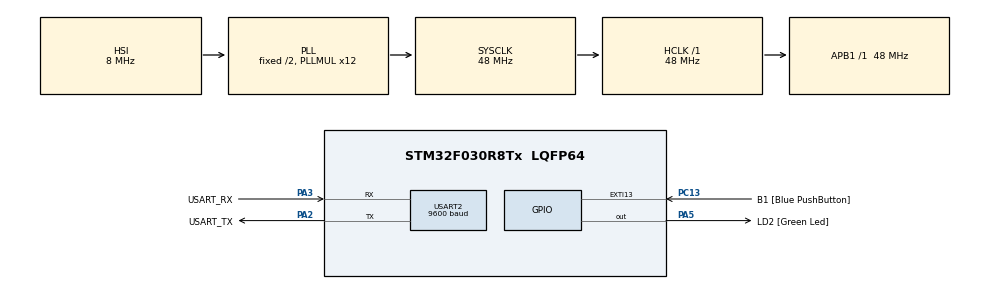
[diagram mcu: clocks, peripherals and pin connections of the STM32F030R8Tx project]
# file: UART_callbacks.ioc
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Dma.Request0=USART2_RX
Dma.USART2_RX.0.Direction=DMA_PERIPH_TO_MEMORY
Dma.USART2_RX.0.Instance=DMA1_Channel5
Dma.USART2_RX.0.MemDataAlignment=DMA_MDATAALIGN_BYTE
Dma.USART2_RX.0.MemInc=DMA_MINC_ENABLE
Dma.USART2_RX.0.Mode=DMA_NORMAL
Dma.USART2_RX.0.PeriphDataAlignment=DMA_PDATAALIGN_BYTE
Dma.USART2_RX.0.PeriphInc=DMA_PINC_DISABLE
Dma.USART2_RX.0.Priority=DMA_PRIORITY_LOW
Mcu.Family=STM32F0
Mcu.Name=STM32F030R8Tx
Mcu.Package=LQFP64
NVIC.DMA1_Channel4_5_IRQn=true\:0\:0\:false\:false\:true\:false\:true\:true
NVIC.USART2_IRQn=true\:0\:0\:false\:false\:true\:true\:true\:true
PA13.GPIO_Label=TMS
PA13.Mode=Serial_Wire
PA13.Signal=SYS_SWDIO
PA14.GPIO_Label=TCK
PA14.Mode=Serial_Wire
PA14.Signal=SYS_SWCLK
PA2.GPIO_Label=USART_TX
PA2.GPIO_Mode=GPIO_MODE_AF_PP
PA2.GPIO_PuPd=GPIO_NOPULL
PA2.GPIO_Speed=GPIO_SPEED_FREQ_LOW
PA2.Mode=Asynchronous
PA2.Signal=USART2_TX
PA3.GPIO_Label=USART_RX
PA3.GPIO_Mode=GPIO_MODE_AF_PP
PA3.GPIO_PuPd=GPIO_NOPULL
PA3.GPIO_Speed=GPIO_SPEED_FREQ_LOW
PA3.Mode=Asynchronous
PA3.Signal=USART2_RX
PA5.GPIO_Label=LD2 [Green Led]
PA5.GPIO_Mode=GPIO_MODE_OUTPUT_PP
PA5.GPIO_PuPd=GPIO_NOPULL
PA5.GPIO_Speed=GPIO_SPEED_FREQ_LOW
PA5.Signal=GPIO_Output
PC13.GPIO_Label=B1 [Blue PushButton]
PC13.GPIO_ModeDefaultEXTI=GPIO_MODE_IT_FALLING
PC13.Signal=GPXTI13
PC14-OSC32_IN.Mode=LSE-External-Oscillator
PC14-OSC32_IN.Signal=RCC_OSC32_IN
PC15-OSC32_OUT.Mode=LSE-External-Oscillator
PC15-OSC32_OUT.Signal=RCC_OSC32_OUT
PF0-OSC_IN.Mode=HSE-External-Clock-Source
PF0-OSC_IN.Signal=RCC_OSC_IN
PF1-OSC_OUT.Signal=RCC_OSC_OUT
ProjectManager.HeapSize=0x200
ProjectManager.StackSize=0x400
ProjectManager.TargetToolchain=STM32CubeIDE
RCC.AHBFreq_Value=48000000
RCC.APB1Freq_Value=48000000
RCC.APB1TimFreq_Value=48000000
RCC.HCLKFreq_Value=48000000
RCC.PLLMUL=RCC_PLL_MUL12
RCC.SYSCLKFreq_VALUE=48000000
RCC.SYSCLKSource=RCC_SYSCLKSOURCE_PLLCLK
USART2.BaudRate=9600
USART2.VirtualMode-Asynchronous=VM_ASYNC
board=NUCLEO-F030R8

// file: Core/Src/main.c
/* USER CODE BEGIN Header */
/**
  ******************************************************************************
  * @file           : main.c
  * @brief          : Main program body
  ******************************************************************************
  * @attention
  *
  * Copyright (c) 2024 STMicroelectronics.
  * All rights reserved.
  *
  * This software is licensed under terms that can be found in the LICENSE file
  * in the root directory of this software component.
  * If no LICENSE file comes with this software, it is provided AS-IS.
  *
  ******************************************************************************
  */
/* USER CODE END Header */
#include "main.h"

/* USER CODE BEGIN Includes */
#include <string.h>
#include "FIFO.c"

/* USER CODE END Includes */

/* USER CODE BEGIN PD */
void  myCallback(UART_HandleTypeDef *huart);
/* USER CODE END PD */

UART_HandleTypeDef huart2;
DMA_HandleTypeDef hdma_usart2_rx;

/* USER CODE BEGIN PV */
fifo_t myfifo;
uint8_t temp_rxBuffer[1];
uint8_t i = 0;
uint8_t buffer[4];
/* USER CODE END PV */

void SystemClock_Config(void);
static void MX_GPIO_Init(void);
static void MX_DMA_Init(void);
static void MX_USART2_UART_Init(void);

int main(void)
{

  /* MCU Configuration--------------------------------------------------------*/

  /* Reset of all peripherals, Initializes the Flash interface and the Systick. */
  HAL_Init();

  /* USER CODE BEGIN Init */
    //HAL_NVIC_SetPriority(USART2_IRQn, 0, 0);
    //HAL_NVIC_EnableIRQ(USART2_IRQn);
    myfifo = fifo_create(10,sizeof(uint8_t));
  /* USER CODE END Init */

  /* Configure the system clock */
  SystemClock_Config();

  /* Initialize all configured peripherals */
  MX_GPIO_Init();
  MX_DMA_Init();
  MX_USART2_UART_Init();
  /* USER CODE BEGIN 2 */
    HAL_UART_RegisterCallback(&huart2,HAL_UART_RX_COMPLETE_CB_ID  , myCallback);
    HAL_UART_Receive_IT(&huart2, temp_rxBuffer, 1);
  /* USER CODE END 2 */

  /* Infinite loop */
  /* USER CODE BEGIN WHILE */
    //HAL_UARTEx_ReceiveToIdle_DMA(&huart2, (uint8_t *) rx_buffer, sizeof(rx_buffer));
  while (1)
  {
#if 0
    while (!fifo_is_empty(myfifo)) {
              uint8_t c;
              fifo_get(myfifo, &c);
              buffer[i] = c;
              i+=1;
          }
    HAL_UART_Transmit(&huart2, buffer,i,100);
#endif
    /* USER CODE END WHILE */

  }
}

void SystemClock_Config(void)
{
  RCC_OscInitTypeDef RCC_OscInitStruct = {0};
  RCC_ClkInitTypeDef RCC_ClkInitStruct = {0};

  /** Initializes the RCC Oscillators according to the specified parameters
  * in the RCC_OscInitTypeDef structure.
  */
  RCC_OscInitStruct.OscillatorType = RCC_OSCILLATORTYPE_HSI;
  RCC_OscInitStruct.HSIState = RCC_HSI_ON;
  RCC_OscInitStruct.HSICalibrationValue = RCC_HSICALIBRATION_DEFAULT;
  RCC_OscInitStruct.PLL.PLLState = RCC_PLL_ON;
  RCC_OscInitStruct.PLL.PLLSource = RCC_PLLSOURCE_HSI;
  RCC_OscInitStruct.PLL.PLLMUL = RCC_PLL_MUL12;
  RCC_OscInitStruct.PLL.PREDIV = RCC_PREDIV_DIV1;
  if (HAL_RCC_OscConfig(&RCC_OscInitStruct) != HAL_OK)
  {
    Error_Handler();
  }

  /** Initializes the CPU, AHB and APB buses clocks
  */
  RCC_ClkInitStruct.ClockType = RCC_CLOCKTYPE_HCLK|RCC_CLOCKTYPE_SYSCLK
                              |RCC_CLOCKTYPE_PCLK1;
  RCC_ClkInitStruct.SYSCLKSource = RCC_SYSCLKSOURCE_PLLCLK;
  RCC_ClkInitStruct.AHBCLKDivider = RCC_SYSCLK_DIV1;
  RCC_ClkInitStruct.APB1CLKDivider = RCC_HCLK_DIV1;

  if (HAL_RCC_ClockConfig(&RCC_ClkInitStruct, FLASH_LATENCY_1) != HAL_OK)
  {
    Error_Handler();
  }
}

static void MX_USART2_UART_Init(void)
{

  huart2.Instance = USART2;
  huart2.Init.BaudRate = 9600;
  huart2.Init.WordLength = UART_WORDLENGTH_8B;
  huart2.Init.StopBits = UART_STOPBITS_1;
  huart2.Init.Parity = UART_PARITY_NONE;
  huart2.Init.Mode = UART_MODE_TX_RX;
  huart2.Init.HwFlowCtl = UART_HWCONTROL_NONE;
  huart2.Init.OverSampling = UART_OVERSAMPLING_16;
  huart2.Init.OneBitSampling = UART_ONE_BIT_SAMPLE_DISABLE;
  huart2.AdvancedInit.AdvFeatureInit = UART_ADVFEATURE_NO_INIT;
  if (HAL_UART_Init(&huart2) != HAL_OK)
  {
    Error_Handler();
  }

}

static void MX_DMA_Init(void)
{

  /* DMA controller clock enable */
  __HAL_RCC_DMA1_CLK_ENABLE();

  /* DMA interrupt init */
  /* DMA1_Channel4_5_IRQn interrupt configuration */
  HAL_NVIC_SetPriority(DMA1_Channel4_5_IRQn, 0, 0);
  HAL_NVIC_EnableIRQ(DMA1_Channel4_5_IRQn);

}

static void MX_GPIO_Init(void)
{
  GPIO_InitTypeDef GPIO_InitStruct = {0};

  /* GPIO Ports Clock Enable */
  __HAL_RCC_GPIOC_CLK_ENABLE();
  __HAL_RCC_GPIOF_CLK_ENABLE();
  __HAL_RCC_GPIOA_CLK_ENABLE();

  /*Configure GPIO pin Output Level */
  HAL_GPIO_WritePin(LD2_GPIO_Port, LD2_Pin, GPIO_PIN_RESET);

  /*Configure GPIO pin : B1_Pin */
  GPIO_InitStruct.Pin = B1_Pin;
  GPIO_InitStruct.Mode = GPIO_MODE_IT_FALLING;
  GPIO_InitStruct.Pull = GPIO_NOPULL;
  HAL_GPIO_Init(B1_GPIO_Port, &GPIO_InitStruct);

  /*Configure GPIO pin : LD2_Pin */
  GPIO_InitStruct.Pin = LD2_Pin;
  GPIO_InitStruct.Mode = GPIO_MODE_OUTPUT_PP;
  GPIO_InitStruct.Pull = GPIO_NOPULL;
  GPIO_InitStruct.Speed = GPIO_SPEED_FREQ_LOW;
  HAL_GPIO_Init(LD2_GPIO_Port, &GPIO_InitStruct);

}

/* USER CODE BEGIN 4 */

void myCallback(UART_HandleTypeDef *huart)
{
    if (huart->Instance == USART2)
    {
        fifo_add(myfifo, &temp_rxBuffer[0]);
        HAL_UART_Receive_IT(&huart2, temp_rxBuffer, 1);
    }
}

/* USER CODE END 4 */

void Error_Handler(void)
{
  __disable_irq();
  while (1)
  {
  }
}
